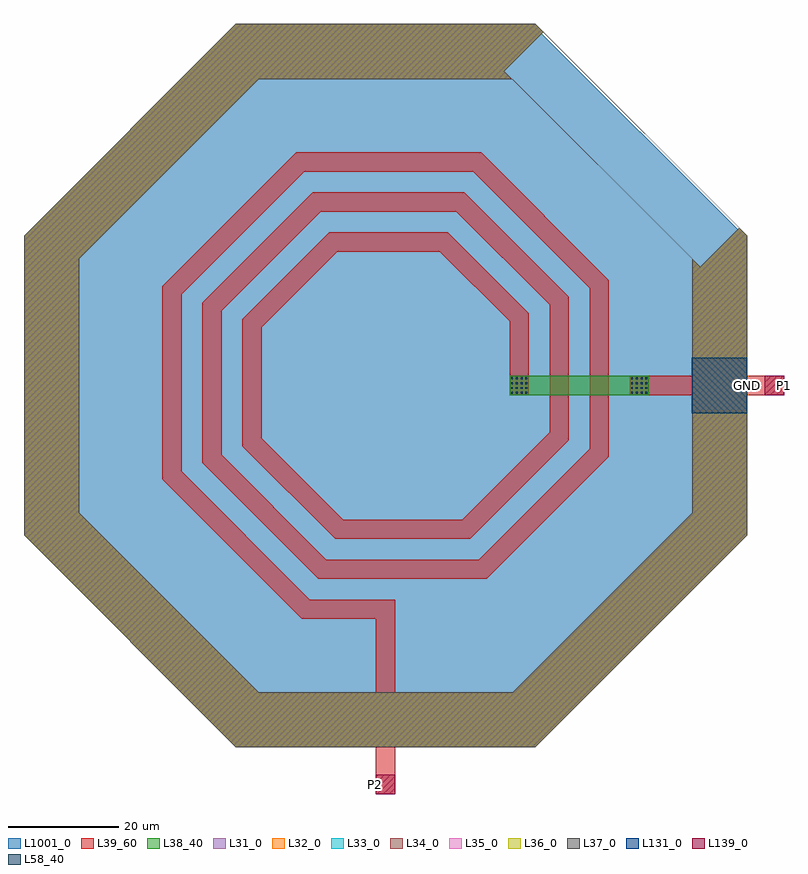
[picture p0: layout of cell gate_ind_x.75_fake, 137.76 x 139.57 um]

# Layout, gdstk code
import gdstk
lib = gdstk.Library(unit=1e-6, precision=1e-09)
def R(c, l, rs):  # rectangles x0, y0, x1, y1
    for r in rs: c.add(gdstk.rectangle(r[:2], r[2:], *l))
def A(c, l, x, y, w, h, nx, ny, dx, dy):  # array of equal rectangles
    R(c, l, [(x+i*dx, y+j*dy, x+i*dx+w, y+j*dy+h) for i in range(nx) for j in range(ny)])
def P(c, l, *ps):  # polygons
    for p in ps: c.add(gdstk.Polygon(p, *l))
L31_0 = (31, 0)
L32_0 = (32, 0)
L33_0 = (33, 0)
L34_0 = (34, 0)
L35_0 = (35, 0)
L36_0 = (36, 0)
L37_0 = (37, 0)
L38_40 = (38, 40)
L39_60 = (39, 60)
L58_40 = (58, 40)
L131_0 = (131, 0)
L139_0 = (139, 0)
L1001_0 = (1001, 0)

gate_ind_x_75_fake = lib.new_cell('gate_ind_x.75_fake')
P(gate_ind_x_75_fake, L31_0, [(57.005,21.541),(64.077,28.612),(27.148,65.541),(-27.148,65.541),(-65.541,27.148),(-65.541,-27.148),(-27.148,-65.541),(27.148,-65.541),(65.541,-27.148),(65.541,27.148),(28.612,64.077),(21.541,57.005),(55.541,23.006),(55.541,-23.006),(23.006,-55.541),(-23.006,-55.541),(-55.541,-23.006),(-55.541,23.006),(-23.006,55.541),(23.006,55.541)])
P(gate_ind_x_75_fake, L32_0, [(57.005,21.541),(64.077,28.612),(27.148,65.541),(-27.148,65.541),(-65.541,27.148),(-65.541,-27.148),(-27.148,-65.541),(27.148,-65.541),(65.541,-27.148),(65.541,27.148),(28.612,64.077),(21.541,57.005),(55.541,23.006),(55.541,-23.006),(23.006,-55.541),(-23.006,-55.541),(-55.541,-23.006),(-55.541,23.006),(-23.006,55.541),(23.006,55.541)])
P(gate_ind_x_75_fake, L33_0, [(57.005,21.541),(64.077,28.612),(27.148,65.541),(-27.148,65.541),(-65.541,27.148),(-65.541,-27.148),(-27.148,-65.541),(27.148,-65.541),(65.541,-27.148),(65.541,27.148),(28.612,64.077),(21.541,57.005),(55.541,23.006),(55.541,-23.006),(23.006,-55.541),(-23.006,-55.541),(-55.541,-23.006),(-55.541,23.006),(-23.006,55.541),(23.006,55.541)])
P(gate_ind_x_75_fake, L34_0, [(57.005,21.541),(64.077,28.612),(27.148,65.541),(-27.148,65.541),(-65.541,27.148),(-65.541,-27.148),(-27.148,-65.541),(27.148,-65.541),(65.541,-27.148),(65.541,27.148),(28.612,64.077),(21.541,57.005),(55.541,23.006),(55.541,-23.006),(23.006,-55.541),(-23.006,-55.541),(-55.541,-23.006),(-55.541,23.006),(-23.006,55.541),(23.006,55.541)])
P(gate_ind_x_75_fake, L35_0, [(57.005,21.541),(64.077,28.612),(27.148,65.541),(-27.148,65.541),(-65.541,27.148),(-65.541,-27.148),(-27.148,-65.541),(27.148,-65.541),(65.541,-27.148),(65.541,27.148),(28.612,64.077),(21.541,57.005),(55.541,23.006),(55.541,-23.006),(23.006,-55.541),(-23.006,-55.541),(-55.541,-23.006),(-55.541,23.006),(-23.006,55.541),(23.006,55.541)])
P(gate_ind_x_75_fake, L36_0, [(57.005,21.541),(64.077,28.612),(27.148,65.541),(-27.148,65.541),(-65.541,27.148),(-65.541,-27.148),(-27.148,-65.541),(27.148,-65.541),(65.541,-27.148),(65.541,27.148),(28.612,64.077),(21.541,57.005),(55.541,23.006),(55.541,-23.006),(23.006,-55.541),(-23.006,-55.541),(-55.541,-23.006),(-55.541,23.006),(-23.006,55.541),(23.006,55.541)])
P(gate_ind_x_75_fake, L37_0, [(57.005,21.541),(64.077,28.612),(27.148,65.541),(-27.148,65.541),(-65.541,27.148),(-65.541,-27.148),(-27.148,-65.541),(27.148,-65.541),(65.541,-27.148),(65.541,27.148),(28.612,64.077),(21.541,57.005),(55.541,23.006),(55.541,-23.006),(23.006,-55.541),(-23.006,-55.541),(-55.541,-23.006),(-55.541,23.006),(-23.006,55.541),(23.006,55.541)])
R(gate_ind_x_75_fake, L38_40, [(22.465,-1.75,47.715,1.75)])
P(gate_ind_x_75_fake, L38_40, [(57.005,21.541),(64.077,28.612),(27.148,65.541),(-27.148,65.541),(-65.541,27.148),(-65.541,-27.148),(-27.148,-65.541),(27.148,-65.541),(65.541,-27.148),(65.541,27.148),(28.612,64.077),(21.541,57.005),(55.541,23.006),(55.541,-23.006),(23.006,-55.541),(-23.006,-55.541),(-55.541,-23.006),(-55.541,23.006),(-23.006,55.541),(23.006,55.541)])
R(gate_ind_x_75_fake, L39_60, [(-1.75,-74.03,1.75,-38.78), (44.215,-1.75,72.215,1.75)])
P(gate_ind_x_75_fake, L39_60, [(22.465,-1.75),(25.965,-1.75),(25.965,13.1),(11.285,27.78),(-10.225,27.78),(-25.965,12.035),(-25.965,-10.975),(-9.165,-27.78),(15.35,-27.78),(33.215,-9.915),(33.215,16.1),(14.29,35.03),(-13.23,35.03),(-33.215,15.04),(-33.215,-13.98),(-12.165,-35.03),(18.355,-35.03),(40.465,-12.915),(40.465,19.105),(17.295,42.28),(-16.23,42.28),(-40.465,18.045),(-40.465,-16.98),(-15.17,-42.28),(0,-42.28),(0,-38.78),(-13.72,-38.78),(-36.965,-15.53),(-36.965,16.595),(-14.78,38.78),(15.845,38.78),(36.965,17.655),(36.965,-11.465),(16.905,-31.53),(-10.715,-31.53),(-29.715,-12.53),(-29.715,13.59),(-11.78,31.53),(12.84,31.53),(29.715,14.65),(29.715,-8.465),(13.9,-24.28),(-7.715,-24.28),(-22.465,-9.525),(-22.465,10.585),(-8.775,24.28),(9.835,24.28),(22.465,11.65)],
  [(57.005,21.541),(64.077,28.612),(27.148,65.541),(-27.148,65.541),(-65.541,27.148),(-65.541,-27.148),(-27.148,-65.541),(27.148,-65.541),(65.541,-27.148),(65.541,27.148),(28.612,64.077),(21.541,57.005),(55.541,23.006),(55.541,-23.006),(23.006,-55.541),(-23.006,-55.541),(-55.541,-23.006),(-55.541,23.006),(-23.006,55.541),(23.006,55.541)])
A(gate_ind_x_75_fake, L58_40, 22.737, -1.48, 0.35, 0.35, 4, 4, 0.87, 0.87)
A(gate_ind_x_75_fake, L58_40, 44.487, -1.48, 0.35, 0.35, 4, 4, 0.87, 0.87)
R(gate_ind_x_75_fake, L131_0, [(55.53,-5,65.53,5)])
R(gate_ind_x_75_fake, L139_0, [(-1.75,-74.03,1.75,-70.53), (68.715,-1.75,72.215,1.75)])
P(gate_ind_x_75_fake, L1001_0, [(65.16,26.99),(26.99,65.16),(-26.99,65.16),(-65.16,26.99),(-65.16,-26.99),(-26.99,-65.16),(26.99,-65.16),(65.16,-26.99)],
  [(65.16,26.99),(26.99,65.16),(-26.99,65.16),(-65.16,26.99),(-65.16,-26.99),(-26.99,-65.16),(26.99,-65.16),(65.16,-26.99)],
  [(65.16,26.99),(26.99,65.16),(-26.99,65.16),(-65.16,26.99),(-65.16,-26.99),(-26.99,-65.16),(26.99,-65.16),(65.16,-26.99)],
  [(65.16,26.99),(26.99,65.16),(-26.99,65.16),(-65.16,26.99),(-65.16,-26.99),(-26.99,-65.16),(26.99,-65.16),(65.16,-26.99)],
  [(65.16,26.99),(26.99,65.16),(-26.99,65.16),(-65.16,26.99),(-65.16,-26.99),(-26.99,-65.16),(26.99,-65.16),(65.16,-26.99)],
  [(65.16,26.99),(26.99,65.16),(-26.99,65.16),(-65.16,26.99),(-65.16,-26.99),(-26.99,-65.16),(26.99,-65.16),(65.16,-26.99)],
  [(65.16,26.99),(26.99,65.16),(-26.99,65.16),(-65.16,26.99),(-65.16,-26.99),(-26.99,-65.16),(26.99,-65.16),(65.16,-26.99)],
  [(65.16,26.99),(26.99,65.16),(-26.99,65.16),(-65.16,26.99),(-65.16,-26.99),(-26.99,-65.16),(26.99,-65.16),(65.16,-26.99)],
  [(65.16,26.99),(26.99,65.16),(-26.99,65.16),(-65.16,26.99),(-65.16,-26.99),(-26.99,-65.16),(26.99,-65.16),(65.16,-26.99)])
gate_ind_x_75_fake.add(gdstk.Label('P1', (72.217,0), layer=139, texttype=0))
gate_ind_x_75_fake.add(gdstk.Label('P2', (-1.75,-72.279), layer=139, texttype=0))
gate_ind_x_75_fake.add(gdstk.Label('GND', (65.529,0), layer=131, texttype=0))

lib.write_gds('gate_ind_x.75_fake.gds')
